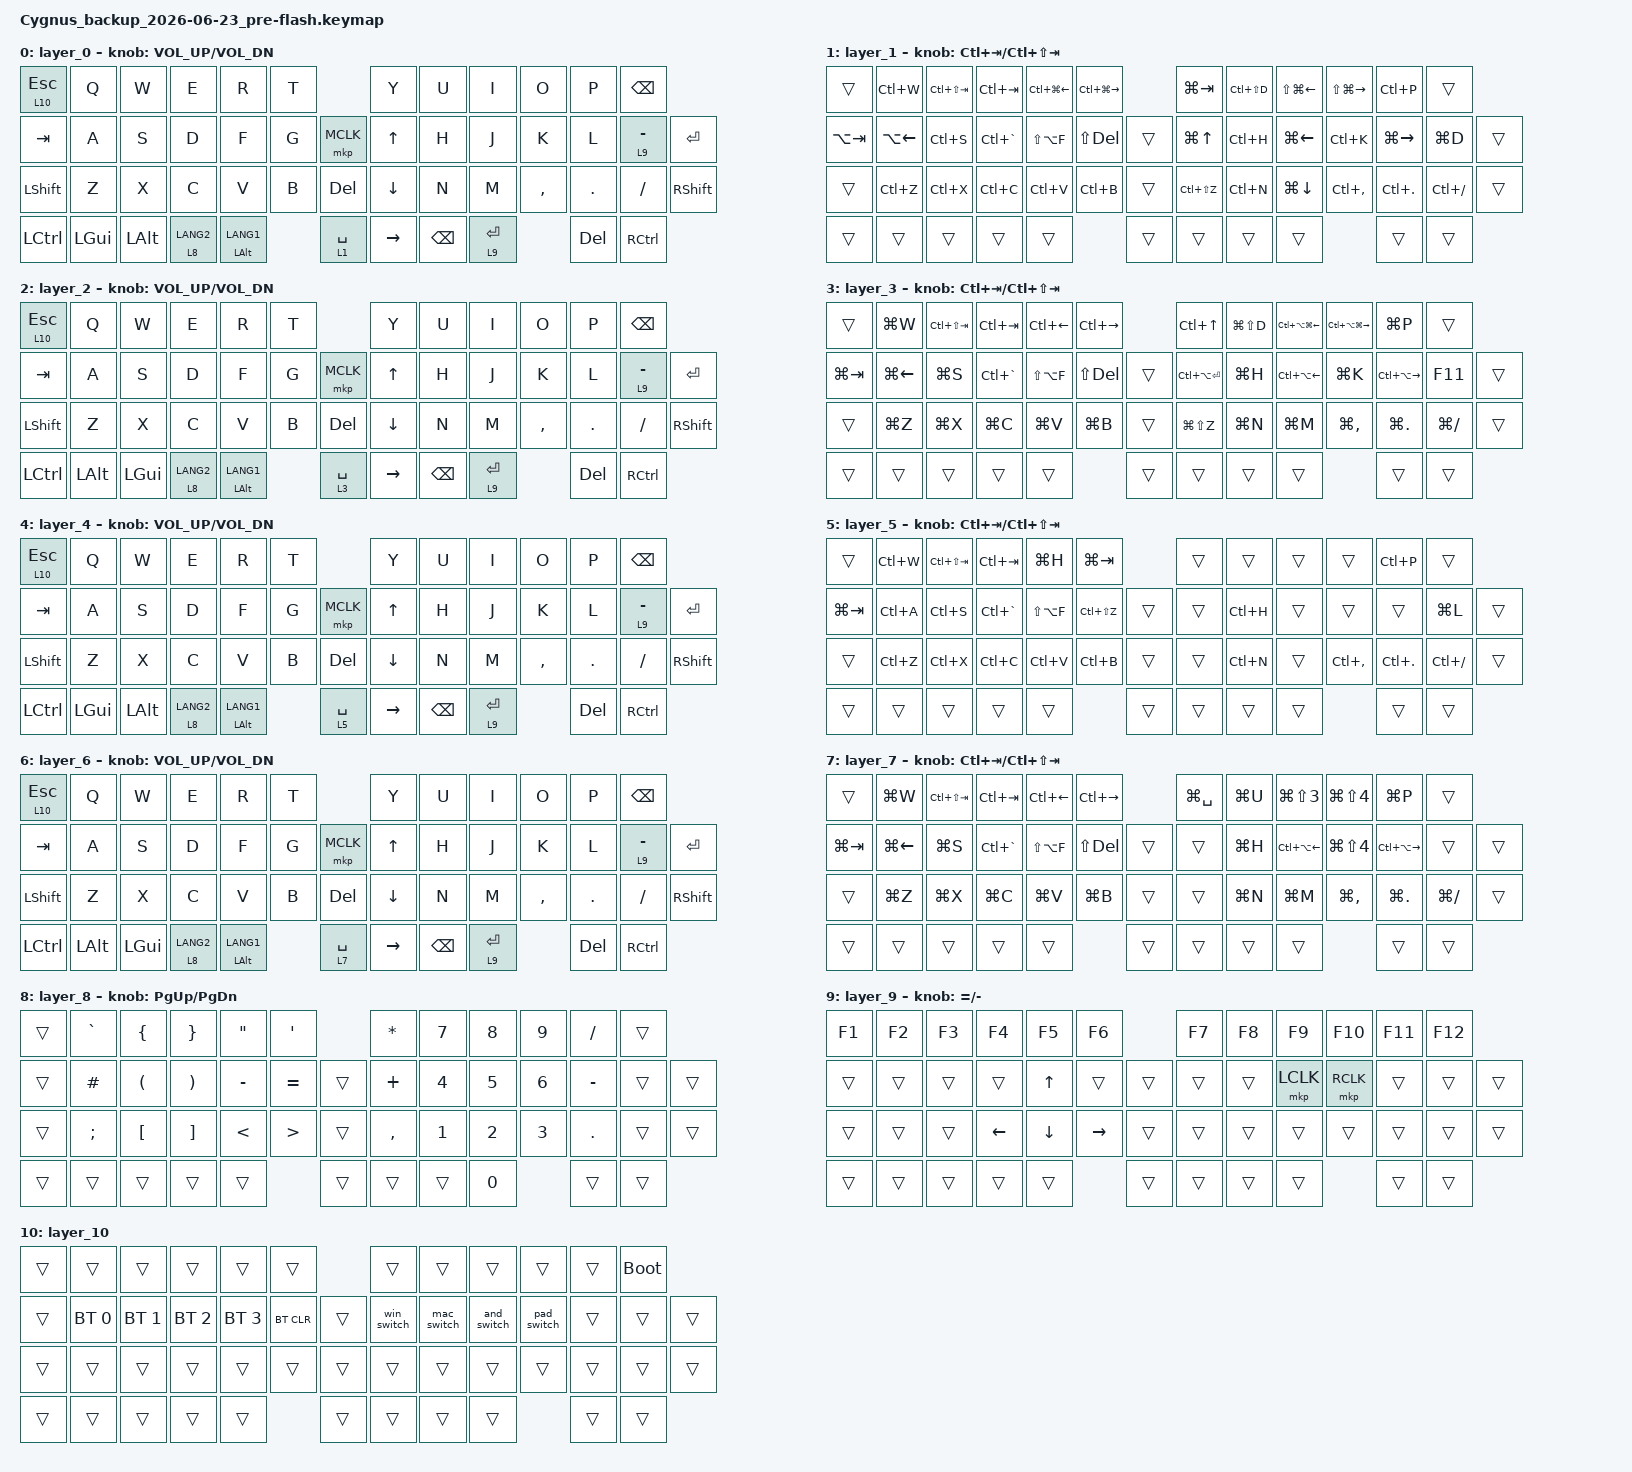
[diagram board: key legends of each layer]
#include <behaviors.dtsi>
#include <dt-bindings/zmk/keys.h>
#include <dt-bindings/zmk/bt.h>
#include <dt-bindings/zmk/mouse.h>

// ============================================================
// Cygnus-M ZMK Keymap  (corrected)
//
// Layer map:
//   L0  Win_Base       L1  Win_Sub
//   L2  Mac_Base       L3  Mac_Sub
//   L4  Android_Base   L5  Android_Sub  (empty)
//   L6  iPad_Base      L7  iPad_Sub     (empty)
//   L8  SymNum         L9  Nav/Func
//  L10  Management
//
// Bottom-row positions (pos41–51) — sequential order:
//   41  LCTL   | 42  LGUI/LALT  | 43  LALT/LGUI  | 44  LT(8,LANG2)  <- 英数tap / L8hold
//   45  MT(alt,LANG1) <- かなtap / Althold
//   46  LT(sub,SPC)   <- Spacetap / Subレイヤーhold
//   47  RIGHT(->)
//   48  BSPC          | 49  LT(9,RET) <- Entertap / L9hold
//   50  DEL    | 51  RCTL
//
// 設計確定事項（2026-06-22-23）:
//   L8アクセス: pos44 LANG2長押し（左サム）のみ <- エルゴルール準拠
//     ※ lt8-L（右手Lキー）および lt8-BSPC は廃止済み
//   L9アクセス: pos49 RET長押し（右サム）+ pos25 MINUS長押しの2経路
//   pos46: 絶対に &mo 系にしないこと（bootloaderアクセス可能になるバグ）
//   pos44: &mt LCTL LANG2 → &lt 8 LANG2 に変更（Ctrl冗長のため）
//   pos48: &lt 8 BSPC → &kp BSPC に変更（L8経路廃止）
//   pos24: &lt 8 L → &kp L に変更（エルゴルール違反解消）
// ============================================================

/ {
    macros {
        // OS切り替え ＆ Bluetooth 自動接続マクロ
        win_switch: win_switch {
            compatible = "zmk,behavior-macro";
            #binding-cells = <0>;
            wait-ms = <200>;
            bindings = <&to 0>, <&bt BT_SEL 0>;
        };
        mac_switch: mac_switch {
            compatible = "zmk,behavior-macro";
            #binding-cells = <0>;
            wait-ms = <200>;
            bindings = <&to 2>, <&bt BT_SEL 1>;
        };
        and_switch: and_switch {
            compatible = "zmk,behavior-macro";
            #binding-cells = <0>;
            wait-ms = <200>;
            bindings = <&to 4>, <&bt BT_SEL 2>;
        };
        pad_switch: pad_switch {
            compatible = "zmk,behavior-macro";
            #binding-cells = <0>;
            wait-ms = <200>;
            bindings = <&to 6>, <&bt BT_SEL 3>;
        };
    };

    keymap {
        compatible = "zmk,keymap";

        // ============================================================
        // L0: Windows Base
        //   pos44 = LT(8, LANG2) : tap=英数  hold=L8(SymNum)
        //   pos45 = MT(LALT, LANG1) : tap=かな  hold=Alt
        //   pos46 = LT(1, SPACE)    : tap=Space hold=Win shortcuts
        // ============================================================
        layer_0 {
            bindings = <
                &lt 10 ESC  &kp Q      &kp W      &kp E      &kp R      &kp T              &kp Y      &kp U      &kp I      &kp O      &kp P      &kp BSPC
                &kp TAB     &kp A      &kp S      &kp D      &kp F      &kp G   &mkp MCLK  &kp UP     &kp H      &kp J      &kp K      &kp L      &lt 9 MINUS  &kp RET
                &kp LSHFT   &kp Z      &kp X      &kp C      &kp V      &kp B   &kp DEL    &kp DOWN   &kp N      &kp M      &kp COMMA  &kp DOT    &kp FSLH     &kp RSHFT
                &kp LCTL    &kp LGUI   &kp LALT   &lt 8 LANG2   &mt LALT LANG1   &lt 1 SPACE   &kp RIGHT   &kp BSPC   &lt 9 RET   &kp DEL   &kp RCTL
            >;
            sensor-bindings = <&inc_dec_kp C_VOL_UP C_VOL_DN>;
        };

        // ============================================================
        // L1: Windows Sub  (VPM shortcuts + Premiere Pro)
        //   TAB = Alt+Tab (window switch)    S = Ctrl+S (save)
        //   Z/X/C/V = Undo/Cut/Copy/Paste    B = VSCode sidebar
        //   U = Ctrl+Shift+D (apply default transition) [Premiere]
        //   G = Shift+Delete (ripple delete)             [Premiere]
        //   K = Ctrl+K (cut at playhead)                 [Premiere]
        //   ↑(inner) = Win+↑ (maximize, moved from K)
        //   ↓(inner) = Ctrl+Shift+Z (redo)               [Premiere]
        //   J/L = Win+←/→ (snap)       M = Win+↓ (minimize)
        //   / = Ctrl+/ (comment toggle)  , = Ctrl+, (settings)
        // ============================================================
        layer_1 {
            bindings = <
                &trans        &kp LC(W)       &kp LC(LS(TAB))   &kp LC(TAB)    &kp LC(LG(LEFT))   &kp LC(LG(RIGHT))              &kp LG(TAB)    &kp LC(LS(D))     &kp LS(LG(LEFT))      &kp LS(LG(RIGHT))     &kp LC(P)       &trans
                &kp LA(TAB)   &kp LA(LEFT)    &kp LC(S)         &kp LC(GRAVE)  &kp LS(LA(F))      &kp LS(DEL)      &trans         &kp LG(UP)     &kp LC(H)         &kp LG(LEFT)          &kp LC(K)             &kp LG(RIGHT)   &kp LG(D)       &trans
                &trans        &kp LC(Z)       &kp LC(X)         &kp LC(C)      &kp LC(V)          &kp LC(B)        &trans         &kp LC(LS(Z))  &kp LC(N)         &kp LG(DOWN)          &kp LC(COMMA)         &kp LC(DOT)     &kp LC(FSLH)    &trans
                &trans        &trans          &trans            &trans         &trans             &trans           &trans         &trans         &trans            &trans                &trans
            >;
            sensor-bindings = <&inc_dec_kp LC(TAB) LC(LS(TAB))>;
        };

        // ============================================================
        // L2: Mac Base
        //   col1/col2 = LALT/LGUI (Mac 配列)
        //   pos44 = LT(8, LANG2) : tap=英数  hold=L8(SymNum)
        //   pos45 = MT(LALT, LANG1) : tap=かな  hold=Option
        //   pos46 = LT(3, SPACE)    : tap=Space hold=Mac shortcuts
        // ============================================================
        layer_2 {
            bindings = <
                &lt 10 ESC  &kp Q      &kp W      &kp E      &kp R      &kp T              &kp Y      &kp U      &kp I      &kp O      &kp P      &kp BSPC
                &kp TAB     &kp A      &kp S      &kp D      &kp F      &kp G   &mkp MCLK  &kp UP     &kp H      &kp J      &kp K      &kp L      &lt 9 MINUS  &kp RET
                &kp LSHFT   &kp Z      &kp X      &kp C      &kp V      &kp B   &kp DEL    &kp DOWN   &kp N      &kp M      &kp COMMA  &kp DOT    &kp FSLH     &kp RSHFT
                &kp LCTL    &kp LALT   &kp LGUI   &lt 8 LANG2   &mt LALT LANG1   &lt 3 SPACE   &kp RIGHT   &kp BSPC   &lt 9 RET   &kp DEL   &kp RCTL
            >;
            sensor-bindings = <&inc_dec_kp C_VOL_UP C_VOL_DN>;
        };

        // ============================================================
        // L3: Mac Sub  (VPM shortcuts + Premiere Pro — 同物理位置 = 同機能)
        //   TAB = Cmd+Tab (app switch)       S = Cmd+S (save)
        //   Z/X/C/V = Undo/Cut/Copy/Paste    B = VSCode sidebar
        //   U = Cmd+Shift+D (apply default transition) [Premiere]
        //   G = Shift+Delete (ripple delete)             [Premiere]
        //   K = Cmd+K (cut at playhead)                  [Premiere]
        //   ↑(inner) = Moom Fullscreen (moved from K)
        //   ↓(inner) = Cmd+Shift+Z (redo)                [Premiere]
        //   J/L = Moom ←/→        M = Cmd+M (minimize)
        //   / = Cmd+/ (comment toggle)  , = Cmd+, (settings)
        // ============================================================
        layer_3 {
            bindings = <
                &trans        &kp LG(W)       &kp LC(LS(TAB))   &kp LC(TAB)    &kp LC(LEFT)       &kp LC(RIGHT)                  &kp LC(UP)     &kp LG(LS(D))     &kp LC(LA(LG(LEFT)))  &kp LC(LA(LG(RIGHT))) &kp LG(P)       &trans
                &kp LG(TAB)   &kp LG(LEFT)    &kp LG(S)         &kp LC(GRAVE)  &kp LS(LA(F))      &kp LS(DEL)      &trans         &kp LC(LA(RET)) &kp LG(H)        &kp LC(LA(LEFT))      &kp LG(K)             &kp LC(LA(RIGHT)) &kp F11       &trans
                &trans        &kp LG(Z)       &kp LG(X)         &kp LG(C)      &kp LG(V)          &kp LG(B)        &trans         &kp LG(LS(Z))  &kp LG(N)         &kp LG(M)             &kp LG(COMMA)         &kp LG(DOT)     &kp LG(FSLH)    &trans
                &trans        &trans          &trans            &trans         &trans             &trans           &trans         &trans         &trans            &trans                &trans
            >;
            sensor-bindings = <&inc_dec_kp LC(TAB) LC(LS(TAB))>;
        };

        // ============================================================
        // L4: Android Base  (L0 と同構成、サブレイヤーのみ L5)
        // ============================================================
        layer_4 {
            bindings = <
                &lt 10 ESC  &kp Q      &kp W      &kp E      &kp R      &kp T              &kp Y      &kp U      &kp I      &kp O      &kp P      &kp BSPC
                &kp TAB     &kp A      &kp S      &kp D      &kp F      &kp G   &mkp MCLK  &kp UP     &kp H      &kp J      &kp K      &kp L      &lt 9 MINUS  &kp RET
                &kp LSHFT   &kp Z      &kp X      &kp C      &kp V      &kp B   &kp DEL    &kp DOWN   &kp N      &kp M      &kp COMMA  &kp DOT    &kp FSLH     &kp RSHFT
                &kp LCTL    &kp LGUI   &kp LALT   &lt 8 LANG2   &mt LALT LANG1   &lt 5 SPACE   &kp RIGHT   &kp BSPC   &lt 9 RET   &kp DEL   &kp RCTL
            >;
            sensor-bindings = <&inc_dec_kp C_VOL_UP C_VOL_DN>;
        };

        // ============================================================
        // L5: Android Sub  (L1 をベースに Android 向け調整)
        //
        //   L1 と同じ位置 = 同じ機能 (VPM) ← Ctrl+key は共通
        //   変更点:
        //     R  = Meta+H   (Home         ← 仮想デスクトップ左の代替)
        //     T  = Meta+Tab (Recent apps  ← 仮想デスクトップ右の代替)
        //     TAB= Meta+Tab (App switch   ← Alt+Tab の代替)
        //     A  = Ctrl+A   (Select all   ← ブラウザ Back よりも頻用)
        //     G  = Ctrl+Shift+Z (Redo     ← Android 標準 Redo)
        //     J/K/L = trans (ウィンドウスナップ非対応)
        //     -  = Meta+L   (Lock screen  ← Win+D の代替)
        //     M  = trans    (Win+Down 相当なし)
        // ============================================================
        layer_5 {
            bindings = <
                &trans        &kp LC(W)       &kp LC(LS(TAB))   &kp LC(TAB)    &kp LG(H)          &kp LG(TAB)                    &trans         &trans            &trans                &trans                &kp LC(P)       &trans
                &kp LG(TAB)   &kp LC(A)       &kp LC(S)         &kp LC(GRAVE)  &kp LS(LA(F))      &kp LC(LS(Z))    &trans         &trans         &kp LC(H)         &trans                &trans                &trans          &kp LG(L)       &trans
                &trans        &kp LC(Z)       &kp LC(X)         &kp LC(C)      &kp LC(V)          &kp LC(B)        &trans         &trans         &kp LC(N)         &trans                &kp LC(COMMA)         &kp LC(DOT)     &kp LC(FSLH)    &trans
                &trans        &trans          &trans            &trans         &trans             &trans           &trans         &trans         &trans            &trans                &trans
            >;
            sensor-bindings = <&inc_dec_kp LC(TAB) LC(LS(TAB))>;
        };

        // ============================================================
        // L6: iPad Base  (L2 と同構成、サブレイヤーのみ L7)
        // ============================================================
        layer_6 {
            bindings = <
                &lt 10 ESC  &kp Q      &kp W      &kp E      &kp R      &kp T              &kp Y      &kp U      &kp I      &kp O      &kp P      &kp BSPC
                &kp TAB     &kp A      &kp S      &kp D      &kp F      &kp G   &mkp MCLK  &kp UP     &kp H      &kp J      &kp K      &kp L      &lt 9 MINUS  &kp RET
                &kp LSHFT   &kp Z      &kp X      &kp C      &kp V      &kp B   &kp DEL    &kp DOWN   &kp N      &kp M      &kp COMMA  &kp DOT    &kp FSLH     &kp RSHFT
                &kp LCTL    &kp LALT   &kp LGUI   &lt 8 LANG2   &mt LALT LANG1   &lt 7 SPACE   &kp RIGHT   &kp BSPC   &lt 9 RET   &kp DEL   &kp RCTL
            >;
            sensor-bindings = <&inc_dec_kp C_VOL_UP C_VOL_DN>;
        };

        // ============================================================
        // L7: iPad Sub  (L3 をベースに iPadOS 向け調整)
        //
        //   L3 と同じ位置 = 同じ機能 (VPM) ← Cmd+key は共通
        //   変更点:
        //     Y  = Cmd+Space  (Spotlight     ← Mission Control 非対応)
        //     I  = Cmd+Shift+3 (Screenshot   ← Mac 固有ショートカットの代替)
        //     O  = Cmd+Shift+4 (Screenshot→クリップボード)
        //     K  = Cmd+Shift+4 (Screenshot   ← Moom fullscreen 非対応)
        //     -  = trans      (F11=デスクトップ表示 は iPad 非対応)
        // ============================================================
        layer_7 {
            bindings = <
                &trans        &kp LG(W)       &kp LC(LS(TAB))   &kp LC(TAB)    &kp LC(LEFT)       &kp LC(RIGHT)                  &kp LG(SPACE)  &kp LG(U)         &kp LG(LS(N3))        &kp LG(LS(N4))        &kp LG(P)       &trans
                &kp LG(TAB)   &kp LG(LEFT)    &kp LG(S)         &kp LC(GRAVE)  &kp LS(LA(F))      &kp LS(DEL)      &trans         &trans         &kp LG(H)         &kp LC(LA(LEFT))      &kp LG(LS(N4))        &kp LC(LA(RIGHT)) &trans        &trans
                &trans        &kp LG(Z)       &kp LG(X)         &kp LG(C)      &kp LG(V)          &kp LG(B)        &trans         &trans         &kp LG(N)         &kp LG(M)             &kp LG(COMMA)         &kp LG(DOT)     &kp LG(FSLH)    &trans
                &trans        &trans          &trans            &trans         &trans             &trans           &trans         &trans         &trans            &trans                &trans
            >;
            sensor-bindings = <&inc_dec_kp LC(TAB) LC(LS(TAB))>;
        };

        // ============================================================
        // L8: SymNum
        //   左手 = 記号  右手 = テンキー
        //   pos49 (右サム隣) = 0  ← トラックボール使用中も 0 入力可
        // ============================================================
        layer_8 {
            bindings = <
                &trans     &kp GRAVE  &kp LBRC   &kp RBRC   &kp DQT    &kp SQT              &kp STAR   &kp N7     &kp N8     &kp N9     &kp FSLH   &trans
                &trans     &kp HASH   &kp LPAR   &kp RPAR   &kp MINUS  &kp EQUAL  &trans    &kp PLUS   &kp N4     &kp N5     &kp N6     &kp MINUS  &trans     &trans
                &trans     &kp SEMI   &kp LBKT   &kp RBKT   &kp LT     &kp GT     &trans    &kp COMMA  &kp N1     &kp N2     &kp N3     &kp DOT    &trans     &trans
                &trans     &trans     &trans     &trans     &trans     &trans     &trans    &trans     &kp N0     &trans     &trans
            >;
            sensor-bindings = <&inc_dec_kp PG_UP PG_DN>;
        };

        // ============================================================
        // L9: Nav/Func
        //   Row1 = F1–F12
        //   左手 F/C/V/B = ↑/←/↓/→  右手 J/K = マウス L/R クリック
        //   エンコーダー = Premiere タイムラインズーム (+/-)
        // ============================================================
        layer_9 {
            bindings = <
                &kp F1     &kp F2     &kp F3     &kp F4     &kp F5     &kp F6               &kp F7     &kp F8     &kp F9     &kp F10    &kp F11    &kp F12
                &trans     &trans     &trans     &trans     &kp UP     &trans     &trans     &trans     &trans     &mkp LCLK  &mkp RCLK  &trans     &trans     &trans
                &trans     &trans     &trans     &kp LEFT   &kp DOWN   &kp RIGHT  &trans     &trans     &trans     &trans     &trans     &trans     &trans     &trans
                &trans     &trans     &trans     &trans     &trans     &trans     &trans     &trans     &trans     &trans     &trans
            >;
            sensor-bindings = <&inc_dec_kp EQUAL MINUS>;
        };

        // ============================================================
        // L10: Management  (ESC 長押しでアクセス)
        //   Row1 BSPC = BOOTLOADER  ← 誤爆注意
        //   Row2 A-F = BT_SEL 0-3 / BT_CLR
        //   Row2 右側 = OS 切替マクロ (Win/Mac/Android/iPad)
        // ============================================================
        layer_10 {
            bindings = <
                &trans     &trans        &trans        &trans        &trans        &trans                  &trans        &trans        &trans        &trans        &trans        &bootloader
                &trans     &bt BT_SEL 0  &bt BT_SEL 1  &bt BT_SEL 2  &bt BT_SEL 3  &bt BT_CLR  &trans    &win_switch   &mac_switch   &and_switch   &pad_switch   &trans        &trans     &trans
                &trans     &trans        &trans        &trans        &trans        &trans      &trans      &trans        &trans        &trans        &trans        &trans        &trans     &trans
                &trans     &trans        &trans        &trans        &trans        &trans      &trans      &trans        &trans        &trans        &trans
            >;
        };
    };
};
